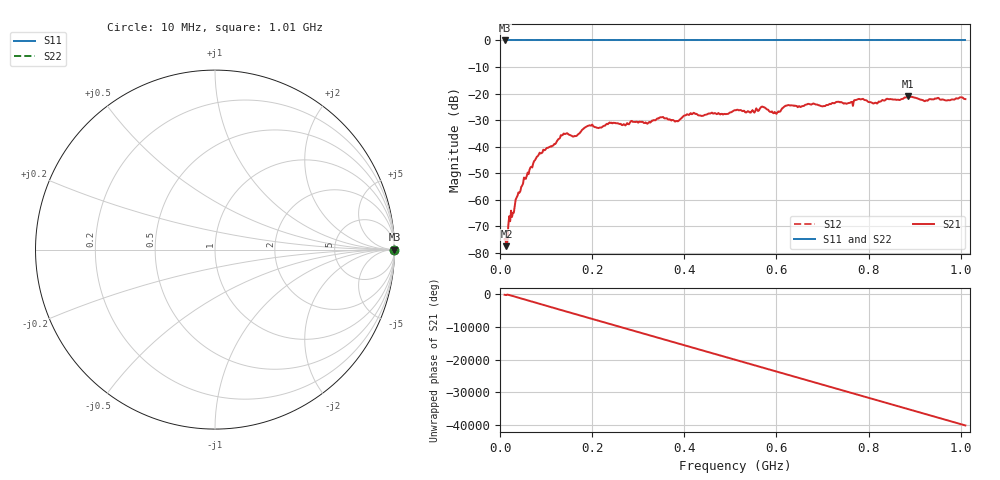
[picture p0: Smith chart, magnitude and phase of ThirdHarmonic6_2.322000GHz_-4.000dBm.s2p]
! 8/17/2025 3:17:56 AM
! C:\ANRITSUVNA\TEMP\TEMP.S2P
! CHANNEL.1
! TR.MEASUREMENT
! RAW.DATA
! RF.CORRECTION.OFF
! AVERAGING.OFF
! IF.BANDWIDTH: 5KHZ
! SWEEPTYPE:  FREQ.SWEEP(Linear)
! Reference Plane Port Info
! PORT:  PORT1  PORT2
! DISTANCE:  0  m  0  m
! TIME:  0  s  0  s
! PHASE.OFFSET:  0  deg.  0  deg.
! LOSS:  0  dB  0  dB
! REF.LOSS:  0  dB  0  dB
! REF.FREQ:  0  Hz  0  Hz
! Power Info
! POWER:  -20  dBm  -20  dBm
! EFF.POWER:  -20  dBm  -20  dBm
! SOURCE.ATTEN:  0  dB  0  dB
! TEST.ATTEN:  0  dB  0  dB
# GHZ S RI R 50.0
! FREQ.GHZ  S11RE  S11IM  S21RE  S21IM  S12RE  S12IM  S22RE  S22IM
!; PortSelection: Port_12
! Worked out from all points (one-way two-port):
!   501 points, 10 MHz to 1.01 GHz, reference 50 ohm
!   highest |S21| = -21.04 dB at 886 MHz (marker M1); lowest = -77.5 dB at 14 MHz (marker M2)
!   lowest |S11| = 0.0 dB at 10 MHz (marker M3)
!   |S11| at or under -10 dB: nowhere
!   |S22| runs from 0.0 to 0.0 dB; largest |S21 - S12| = 1.1
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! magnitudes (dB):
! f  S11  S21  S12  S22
! 10 MHz  0.0  -74.9  0.0  0.0
! 14 MHz  0.0  -77.5  0.0  0.0
! 22 MHz  0.0  -68.1  0.0  0.0
! 38 MHz  0.0  -58.4  0.0  0.0
! 82 MHz  0.0  -43.5  0.0  0.0
! 136 MHz  0.0  -35.6  0.0  0.0
! 162 MHz  0.0  -36.0  0.0  0.0
! 178 MHz  0.0  -33.7  0.0  0.0
! 196 MHz  0.0  -32.0  0.0  0.0
! 322 MHz  0.0  -31.0  0.0  0.0
! 344 MHz  0.0  -29.4  0.0  0.0
! 384 MHz  0.0  -30.3  0.0  0.0
! 416 MHz  0.0  -27.8  0.0  0.0
! 510 MHz  0.0  -26.3  0.0  0.0
! 548 MHz  0.0  -26.2  0.0  0.0
! 570 MHz  0.0  -24.9  0.0  0.0
! 598 MHz  0.0  -27.4  0.0  0.0
! 622 MHz  0.0  -24.6  0.0  0.0
! 678 MHz  0.0  -23.9  0.0  0.0
! 844 MHz  0.0  -22.1  0.0  0.0
! 886 MHz  0.0  -21.0  0.0  0.0
! 1.01 GHz  0.0  -22.1  0.0  0.0
